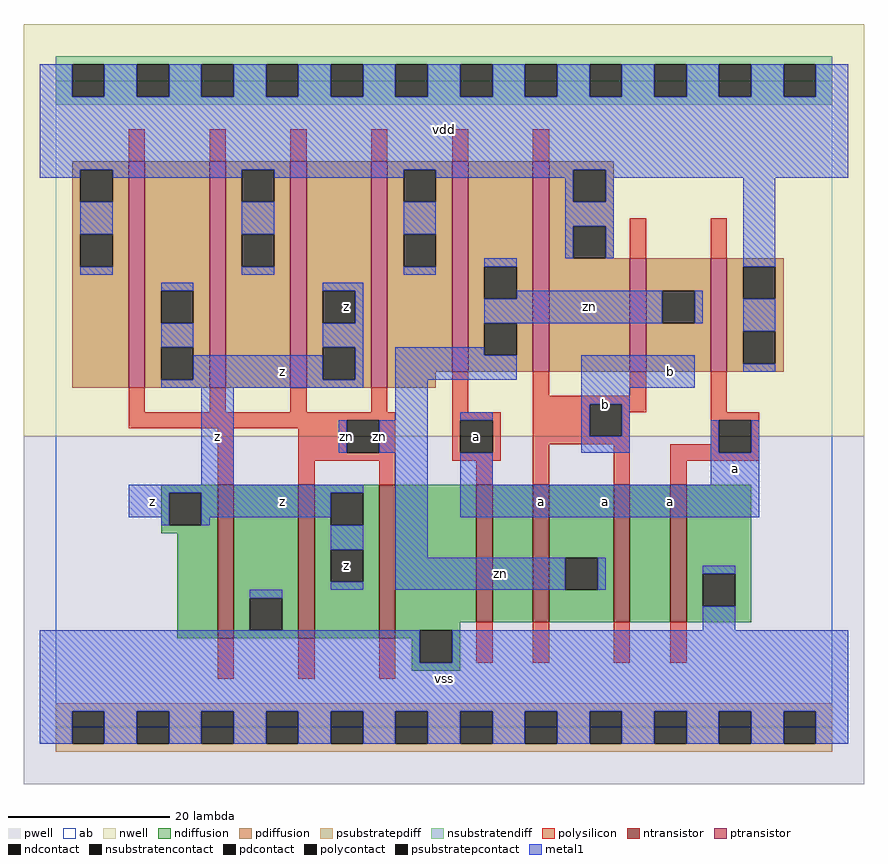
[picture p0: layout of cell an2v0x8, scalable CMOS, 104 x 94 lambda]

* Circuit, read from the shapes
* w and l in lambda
.subckt an2v0x8 a b vdd vss z zn
M1 vss zn z vss nfet w=19 l=2 m=3
M2 n1 a vss vss nfet w=17 l=2
M3 zn b n1 vss nfet w=17 l=2
M4 n2 b zn vss nfet w=17 l=2
M5 vss a n2 vss nfet w=17 l=2
M6 z zn vdd vdd pfet w=28 l=2 m=4
M7 zn a vdd vdd pfet w=26 l=2
M8 vdd b zn vdd pfet w=26 l=2
M9 zn b vdd vdd pfet w=14 l=2
M10 vdd a zn vdd pfet w=14 l=2
.ends

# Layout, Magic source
magic
tech scmos
<< ab >>
rect 0 0 96 80
<< pwell >>
rect -4 -7 100 36
<< nwell >>
rect -4 36 100 87
<< polysilicon >>
rect 9 70 11 74
rect 19 70 21 74
rect 29 70 31 74
rect 39 70 41 74
rect 49 70 51 74
rect 59 70 61 74
rect 71 58 73 63
rect 81 58 83 63
rect 9 39 11 42
rect 19 39 21 42
rect 29 39 31 42
rect 39 39 41 42
rect 49 39 51 44
rect 59 41 61 44
rect 71 41 73 44
rect 59 40 73 41
rect 9 38 42 39
rect 9 37 36 38
rect 20 30 22 37
rect 30 34 36 37
rect 40 34 42 38
rect 30 33 42 34
rect 49 38 55 39
rect 49 34 50 38
rect 54 34 55 38
rect 49 33 55 34
rect 59 36 66 40
rect 70 39 73 40
rect 81 39 83 44
rect 70 36 71 39
rect 59 35 71 36
rect 81 38 87 39
rect 81 35 82 38
rect 30 30 32 33
rect 40 30 42 33
rect 52 30 54 33
rect 59 30 61 35
rect 69 30 71 35
rect 76 34 82 35
rect 86 34 87 38
rect 76 33 87 34
rect 76 30 78 33
rect 20 6 22 11
rect 30 6 32 11
rect 40 6 42 11
rect 52 8 54 13
rect 59 8 61 13
rect 69 8 71 13
rect 76 8 78 13
<< ndiffusion >>
rect 13 29 20 30
rect 13 25 14 29
rect 18 25 20 29
rect 13 24 20 25
rect 15 11 20 24
rect 22 16 30 30
rect 22 12 24 16
rect 28 12 30 16
rect 22 11 30 12
rect 32 29 40 30
rect 32 25 34 29
rect 38 25 40 29
rect 32 22 40 25
rect 32 18 34 22
rect 38 18 40 22
rect 32 11 40 18
rect 42 13 52 30
rect 54 13 59 30
rect 61 21 69 30
rect 61 17 63 21
rect 67 17 69 21
rect 61 13 69 17
rect 71 13 76 30
rect 78 19 86 30
rect 78 15 80 19
rect 84 15 86 19
rect 78 13 86 15
rect 42 12 50 13
rect 42 11 45 12
rect 44 8 45 11
rect 49 8 50 12
rect 44 7 50 8
<< pdiffusion >>
rect 2 69 9 70
rect 2 65 3 69
rect 7 65 9 69
rect 2 61 9 65
rect 2 57 3 61
rect 7 57 9 61
rect 2 42 9 57
rect 11 54 19 70
rect 11 50 13 54
rect 17 50 19 54
rect 11 47 19 50
rect 11 43 13 47
rect 17 43 19 47
rect 11 42 19 43
rect 21 69 29 70
rect 21 65 23 69
rect 27 65 29 69
rect 21 61 29 65
rect 21 57 23 61
rect 27 57 29 61
rect 21 42 29 57
rect 31 54 39 70
rect 31 50 33 54
rect 37 50 39 54
rect 31 47 39 50
rect 31 43 33 47
rect 37 43 39 47
rect 31 42 39 43
rect 41 69 49 70
rect 41 65 43 69
rect 47 65 49 69
rect 41 61 49 65
rect 41 57 43 61
rect 47 57 49 61
rect 41 44 49 57
rect 51 57 59 70
rect 51 53 53 57
rect 57 53 59 57
rect 51 50 59 53
rect 51 46 53 50
rect 57 46 59 50
rect 51 44 59 46
rect 61 69 69 70
rect 61 65 64 69
rect 68 65 69 69
rect 61 62 69 65
rect 61 58 64 62
rect 68 58 69 62
rect 61 44 71 58
rect 73 54 81 58
rect 73 50 75 54
rect 79 50 81 54
rect 73 44 81 50
rect 83 57 90 58
rect 83 53 85 57
rect 89 53 90 57
rect 83 49 90 53
rect 83 45 85 49
rect 89 45 90 49
rect 83 44 90 45
rect 41 42 47 44
<< metal1 >>
rect -2 78 2 82
rect 6 78 10 82
rect 14 78 18 82
rect 22 78 26 82
rect 30 78 34 82
rect 38 78 42 82
rect 46 78 50 82
rect 54 78 58 82
rect 62 78 66 82
rect 70 78 74 82
rect 78 78 82 82
rect 86 78 90 82
rect 94 78 98 82
rect -2 69 98 78
rect -2 68 3 69
rect 7 68 23 69
rect 3 61 7 65
rect 3 56 7 57
rect 27 68 43 69
rect 23 61 27 65
rect 23 56 27 57
rect 47 68 64 69
rect 43 61 47 65
rect 63 65 64 68
rect 68 68 98 69
rect 68 65 69 68
rect 63 62 69 65
rect 63 58 64 62
rect 68 58 69 62
rect 43 56 47 57
rect 53 57 57 58
rect 13 54 17 55
rect 13 47 17 50
rect 33 54 38 55
rect 37 50 38 54
rect 33 47 38 50
rect 85 57 89 68
rect 57 53 75 54
rect 53 50 75 53
rect 79 50 80 54
rect 17 43 33 46
rect 37 43 38 47
rect 13 42 38 43
rect 42 46 53 47
rect 85 49 89 53
rect 42 43 57 46
rect 18 30 22 42
rect 42 38 46 43
rect 65 42 79 46
rect 85 44 89 45
rect 65 40 71 42
rect 35 34 36 38
rect 40 34 46 38
rect 9 29 38 30
rect 9 26 14 29
rect 13 25 14 26
rect 18 26 34 29
rect 18 25 19 26
rect 34 22 38 25
rect 34 17 38 18
rect 42 21 46 34
rect 50 38 54 39
rect 65 36 66 40
rect 70 36 71 40
rect 65 34 71 36
rect 81 34 82 38
rect 86 34 87 38
rect 50 30 54 34
rect 81 30 87 34
rect 50 26 87 30
rect 42 17 63 21
rect 67 17 68 21
rect 80 19 84 20
rect 24 16 28 17
rect 80 12 84 15
rect -2 8 45 12
rect 49 8 98 12
rect -2 2 98 8
rect -2 -2 2 2
rect 6 -2 10 2
rect 14 -2 18 2
rect 22 -2 26 2
rect 30 -2 34 2
rect 38 -2 42 2
rect 46 -2 50 2
rect 54 -2 58 2
rect 62 -2 66 2
rect 70 -2 74 2
rect 78 -2 82 2
rect 86 -2 90 2
rect 94 -2 98 2
<< ntransistor >>
rect 20 11 22 30
rect 30 11 32 30
rect 40 11 42 30
rect 52 13 54 30
rect 59 13 61 30
rect 69 13 71 30
rect 76 13 78 30
<< ptransistor >>
rect 9 42 11 70
rect 19 42 21 70
rect 29 42 31 70
rect 39 42 41 70
rect 49 44 51 70
rect 59 44 61 70
rect 71 44 73 58
rect 81 44 83 58
<< polycontact >>
rect 36 34 40 38
rect 50 34 54 38
rect 66 36 70 40
rect 82 34 86 38
<< ndcontact >>
rect 14 25 18 29
rect 24 12 28 16
rect 34 25 38 29
rect 34 18 38 22
rect 63 17 67 21
rect 80 15 84 19
rect 45 8 49 12
<< pdcontact >>
rect 3 65 7 69
rect 3 57 7 61
rect 13 50 17 54
rect 13 43 17 47
rect 23 65 27 69
rect 23 57 27 61
rect 33 50 37 54
rect 33 43 37 47
rect 43 65 47 69
rect 43 57 47 61
rect 53 53 57 57
rect 53 46 57 50
rect 64 65 68 69
rect 64 58 68 62
rect 75 50 79 54
rect 85 53 89 57
rect 85 45 89 49
<< psubstratepcontact >>
rect 2 -2 6 2
rect 10 -2 14 2
rect 18 -2 22 2
rect 26 -2 30 2
rect 34 -2 38 2
rect 42 -2 46 2
rect 50 -2 54 2
rect 58 -2 62 2
rect 66 -2 70 2
rect 74 -2 78 2
rect 82 -2 86 2
rect 90 -2 94 2
<< nsubstratencontact >>
rect 2 78 6 82
rect 10 78 14 82
rect 18 78 22 82
rect 26 78 30 82
rect 34 78 38 82
rect 42 78 46 82
rect 50 78 54 82
rect 58 78 62 82
rect 66 78 70 82
rect 74 78 78 82
rect 82 78 86 82
rect 90 78 94 82
<< psubstratepdiff >>
rect 0 2 96 3
rect 0 -2 2 2
rect 6 -2 10 2
rect 14 -2 18 2
rect 22 -2 26 2
rect 30 -2 34 2
rect 38 -2 42 2
rect 46 -2 50 2
rect 54 -2 58 2
rect 62 -2 66 2
rect 70 -2 74 2
rect 78 -2 82 2
rect 86 -2 90 2
rect 94 -2 96 2
rect 0 -3 96 -2
<< nsubstratendiff >>
rect 0 82 96 83
rect 0 78 2 82
rect 6 78 10 82
rect 14 78 18 82
rect 22 78 26 82
rect 30 78 34 82
rect 38 78 42 82
rect 46 78 50 82
rect 54 78 58 82
rect 62 78 66 82
rect 70 78 74 82
rect 78 78 82 82
rect 86 78 90 82
rect 94 78 96 82
rect 0 77 96 78
<< labels >>
rlabel polysilicon 36 36 36 36 6 zn
rlabel metal1 12 28 12 28 6 z
rlabel metal1 28 28 28 28 6 z
rlabel metal1 20 36 20 36 6 z
rlabel metal1 28 44 28 44 6 z
rlabel metal1 48 6 48 6 6 vss
rlabel ndcontact 36 20 36 20 6 z
rlabel metal1 40 36 40 36 6 zn
rlabel polycontact 52 36 52 36 6 a
rlabel pdcontact 36 52 36 52 6 z
rlabel metal1 48 74 48 74 6 vdd
rlabel metal1 60 28 60 28 6 a
rlabel metal1 55 19 55 19 6 zn
rlabel metal1 76 28 76 28 6 a
rlabel metal1 68 28 68 28 6 a
rlabel metal1 76 44 76 44 6 b
rlabel metal1 68 40 68 40 6 b
rlabel metal1 84 32 84 32 6 a
rlabel metal1 66 52 66 52 6 zn
<< end >>
